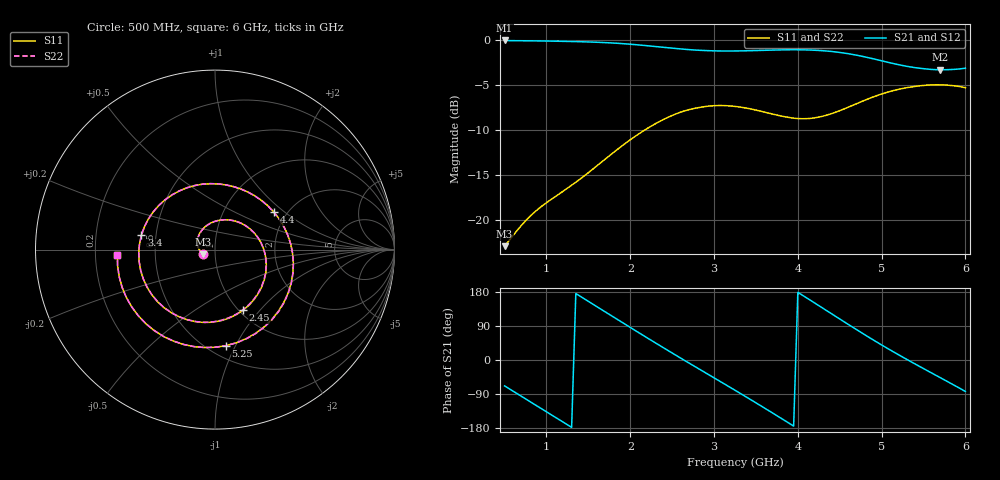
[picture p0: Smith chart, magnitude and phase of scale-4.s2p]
! Touchstone file from project sampleWidthScale-4
! Exported from HFSS-IE 2014.0.2
! Variables:
!  $perm = 6
!  impedance = 157.9ohm
!  insulationThickness = 0in
!  length = 4in
!  portSize = 1mm
!  sampleSide = 0.5in
!  sampleThickness = 0.25in
!  scale = 4
!  spacing = 0.25in
!  wireDiam = 0.125in
!  wireRadius = 0.0625in
# GHZ S MA R 157.900000
! Terminal data exported
! Port[1] = Rectangle2_T1
! Port[2] = Rectangle2_T2
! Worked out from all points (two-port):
!   111 points, 500 MHz to 6 GHz, reference 157.9 ohm
!   highest |S21| = -0.03 dB at 500 MHz (marker M1); lowest = -3.3 dB at 5.7 GHz (marker M2)
!   |S21| within 3 dB of the highest: start of sweep to 5.381 GHz
!   lowest |S11| = -22.9 dB at 500 MHz (marker M3), VSWR 1.15, Z = 138 - j7.21 ohm
!   |S11| at or under -10 dB: start of sweep to 2.173 GHz
!   |S22| runs from -22.9 to -5.0 dB; largest |S21 - S12| = 1.5e-14
!   S11 on the Smith chart (normalised r, x): 500 MHz: 0.87, -0.05; 2.45 GHz: 1.05, -0.82; 3.4 GHz: 0.41, +0.08; 4.4 GHz: 1.72, +0.84; 5.25 GHz: 0.61, -0.92; 6 GHz: 0.30, -0.02
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0.5  0.07136 -158.7  0.9967 -68.4  0.9967 -68.4  0.07138 -158.7
0.7  0.09308 173.4  0.9931 -95.7  0.9931 -95.7  0.09358 173.8
0.9  0.1148 146.7  0.9909 -123.1  0.9909 -123.1  0.1145 146.5
1.2  0.1446 105.7  0.9853 -164.1  0.9853 -164.1  0.1445 105.4
1.45  0.1755 71.4  0.9795 161.6  0.9795 161.6  0.1757 71.1
1.7  0.2177 37.0  0.9696 127.2  0.9696 127.2  0.218 36.9
1.9  0.2577 9.4  0.9575 99.7  0.9575 99.7  0.258 9.3
2.1  0.3007 -18.0  0.941 72.3  0.941 72.3  0.3001 -18.2
2.35  0.3529 -51.6  0.9174 38.5  0.9174 38.5  0.3509 -51.8
2.45  0.3721 -64.9  0.908 25.1  0.908 25.1  0.3698 -65.1
2.8  0.4202 -111.4  0.8801 -21.0  0.8801 -21.0  0.4198 -111.4
3.25  0.428 -171.0  0.8711 -79.8  0.8711 -79.8  0.4279 -171.0
3.4  0.4177 168.9  0.8735 -99.7  0.8735 -99.7  0.4179 168.9
3.6  0.398 141.9  0.8785 -126.5  0.8785 -126.5  0.3982 141.8
3.85  0.3746 107.9  0.884 -160.6  0.884 -160.6  0.3746 107.9
4.2  0.3696 60.0  0.8794 150.6  0.8794 150.6  0.3693 59.7
4.4  0.3898 32.1  0.8656 122.4  0.8656 122.4  0.3889 31.9
4.7  0.443 -9.9  0.8253 80.3  0.8253 80.3  0.4436 -9.9
5.1  0.5183 -64.1  0.7487 26.8  0.7487 26.8  0.5198 -64.1
5.25  0.5385 -83.4  0.7229 7.9  0.7229 7.9  0.5388 -83.4
5.7  0.5643 -139.2  0.6846 -46.6  0.6846 -46.6  0.5642 -139.2
6  0.5439 -177.1  0.6979 -83.0  0.6979 -83.0  0.5442 -177.1
